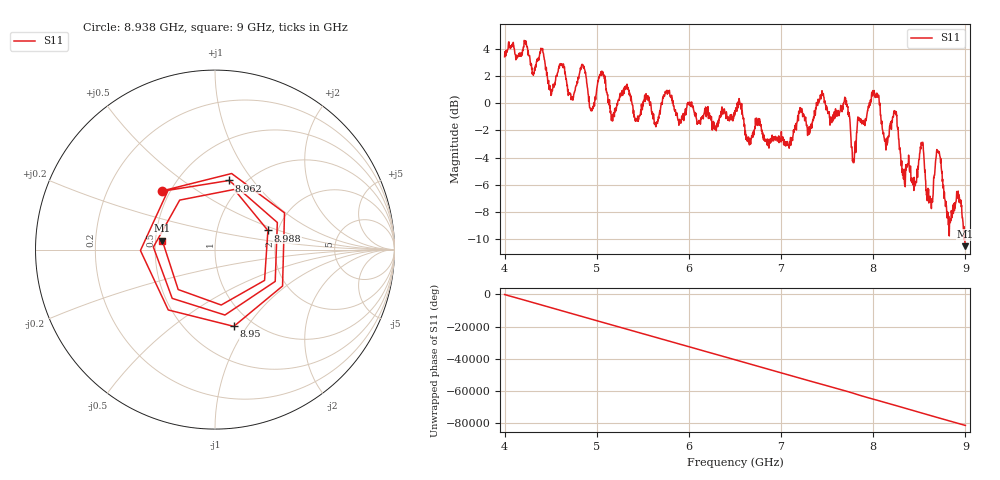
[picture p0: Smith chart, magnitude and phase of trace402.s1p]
! Created with skrf 1.8.0 (http://scikit-rf.org).
# Hz S RI R 50.0
!freq ReS11 ImS11
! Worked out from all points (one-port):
!   1601 points, 4 GHz to 9 GHz, reference 50 ohm
!   lowest |S11| = -10.5 dB at 9 GHz (marker M1), VSWR 1.85, Z = 27.2 + j3 ohm
!   |S11| at or under -10 dB: 8.987691 GHz to 8.98873 GHz (1.039 MHz wide, 0.0116 % of centre); 8.992837 GHz to end of sweep
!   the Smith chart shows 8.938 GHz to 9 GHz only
!   S11 on the Smith chart (normalised r, x): 8.938 GHz: 0.45, +0.37; 8.95 GHz: 0.82, -0.87; 8.962 GHz: 0.85, +0.77; 8.988 GHz: 1.77, +0.42; 9 GHz: 0.54, +0.06
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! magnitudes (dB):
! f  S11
! 4 GHz  3.4
! 4.403 GHz  4.0
! 4.506 GHz  0.7
! 4.625 GHz  2.9
! 4.725 GHz  0.4
! 4.856 GHz  2.6
! 4.944 GHz  -0.4
! 5.053 GHz  2.2
! 5.166 GHz  -1.3
! 5.25 GHz  0.4
! 5.875 GHz  -1.0
! 6.5 GHz  -0.8
! 7.125 GHz  -2.7
! 7.441 GHz  0.6
! 7.75 GHz  -1.6
! 7.788 GHz  -4.4
! 8.022 GHz  0.4
! 8.375 GHz  -4.5
! 8.45 GHz  -6.0
! 8.528 GHz  -3.1
! 8.625 GHz  -7.0
! 8.709 GHz  -3.5
! 8.819 GHz  -8.3
! 8.938 GHz  -7.1
! 8.95 GHz  -7.1
! 8.962 GHz  -8.1
! 8.988 GHz  -10.1
! 9 GHz  -10.5
